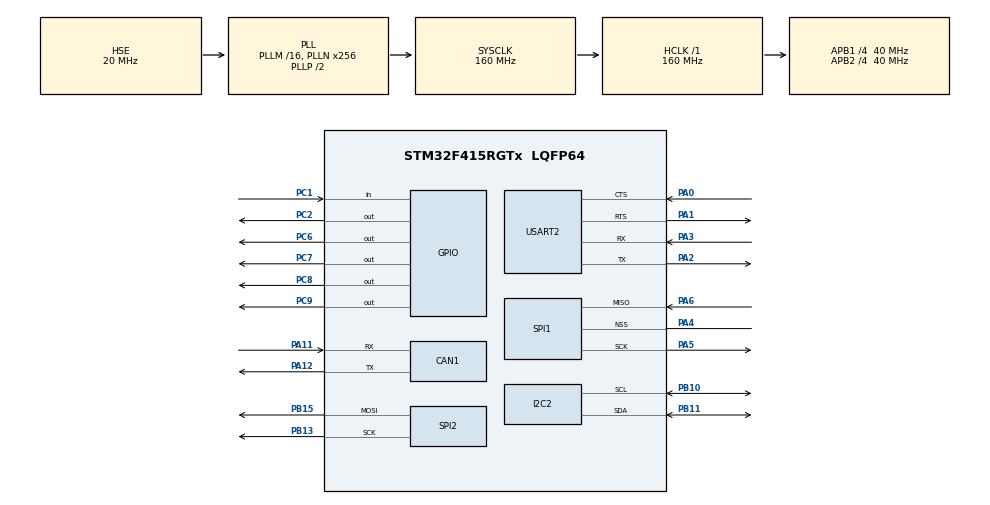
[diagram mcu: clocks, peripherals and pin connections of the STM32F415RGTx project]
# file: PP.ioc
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CAN1.CalculateTimeBit-Master=1200
CAN1.CalculateTimeQuantum-Master=400
Mcu.Family=STM32F4
Mcu.Name=STM32F415RGTx
Mcu.Package=LQFP64
NVIC.PriorityGroup=NVIC_PRIORITYGROUP_4
PA0-WKUP.Mode=CTS_RTS
PA0-WKUP.Signal=USART2_CTS
PA1.Mode=CTS_RTS
PA1.Signal=USART2_RTS
PA11.Mode=Master
PA11.Signal=CAN1_RX
PA12.Mode=Master
PA12.Signal=CAN1_TX
PA2.Mode=Asynchronous
PA2.Signal=USART2_TX
PA3.Mode=Asynchronous
PA3.Signal=USART2_RX
PA4.Mode=NSS_Signal_Hard
PA4.Signal=SPI1_NSS
PA5.Mode=RX_Only_Simplex_Unidirect_Master
PA5.Signal=SPI1_SCK
PA6.Mode=RX_Only_Simplex_Unidirect_Master
PA6.Signal=SPI1_MISO
PB10.Mode=SMBus-two-wire-Interface
PB10.Signal=I2C2_SCL
PB11.Mode=SMBus-two-wire-Interface
PB11.Signal=I2C2_SDA
PB13.Mode=TX_Only_Simplex_Unidirect_Master
PB13.Signal=SPI2_SCK
PB15.Mode=TX_Only_Simplex_Unidirect_Master
PB15.Signal=SPI2_MOSI
PC1.Signal=GPIO_Input
PC2.Signal=GPIO_Output
PC6.Signal=GPIO_Output
PC7.Signal=GPIO_Output
PC8.Signal=GPIO_Output
PC9.Signal=GPIO_Output
PH0-OSC_IN.Mode=HSE-External-Oscillator
PH0-OSC_IN.Signal=RCC_OSC_IN
PH1-OSC_OUT.Mode=HSE-External-Oscillator
PH1-OSC_OUT.Signal=RCC_OSC_OUT
ProjectManager.TargetToolchain=EWARM 6.70
RCC.48MHZClocksFreq_Value=80000000
RCC.AHBFreq_Value=160000000
RCC.APB1CLKDivider=RCC_HCLK_DIV4
RCC.APB1Freq_Value=40000000
RCC.APB1TimFreq_Value=80000000
RCC.APB2CLKDivider=RCC_HCLK_DIV4
RCC.APB2Freq_Value=40000000
RCC.APB2TimFreq_Value=80000000
RCC.ClockTypePCLK1-ClockTree=RCC_CLOCKTYPE_PCLK1
RCC.ClockTypePCLK2-ClockTree=RCC_CLOCKTYPE_PCLK2
RCC.ClockTypeSysClk-ClockTree=RCC_CLOCKTYPE_SYSCLK
RCC.CortexFreq_Value=20000000
RCC.EnableExtClockForI2S-ClockTree=false
RCC.EnableHSE-ClockTree=true
RCC.EnableHSERTCDevisor-ClockTree=false
RCC.EnableLSE-ClockTree=false
RCC.EnableLSERTC-ClockTree=false
RCC.ExtClockEnable-ClockTree=false
RCC.FLatency-AdvancedSettings=FLASH_LATENCY_5
RCC.HCLKFreq_Value=160000000
RCC.HSEState-ClockTree=RCC_HSE_ON
RCC.HSE_VALUE=20000000
RCC.HSIState-ClockTree=RCC_HSI_OFF
RCC.HSI_VALUE=16000000
RCC.I2SEnable-ClockTree=false
RCC.IWDGEnable-ClockTree=false
RCC.LSE_VALUE=32768
RCC.LSIState-ClockTree=RCC_LSI_OFF
RCC.MCO1OutPutEnable-ClockTree=false
RCC.MCO2OutPutEnable-ClockTree=false
RCC.OscillatorTypeHSE-ClockTree=RCC_OSCILLATORTYPE_HSE
RCC.OscillatorTypeHSI-ClockTree=RCC_OSCILLATORTYPE_HSI
RCC.PLLN=256
RCC.PLLSourceVirtual=RCC_PLLSOURCE_HSE
RCC.PLLState-ClockTree=RCC_PLL_ON
RCC.PWR_Regulator_Voltage_Scale-AdvancedSettings=PWR_REGULATOR_VOLTAGE_SCALE1
RCC.RCC_PERIPHCLK_RTCVar-ClockTree=RCC_PERIPHCLK_RTC
RCC.RNGEnable-ClockTree=false
RCC.RTCEnable-ClockTree=false
RCC.SDIOEnable-ClockTree=false
RCC.SYSCLKFreq_VALUE=160000000
RCC.SYSCLKSource=RCC_SYSCLKSOURCE_PLLCLK
RCC.USBFSEnable-ClockTree=false
RCC.USBHSEnable-ClockTree=false
RCC.VCOOutputFreq_Value=320000000
SPI1.BaudRatePrescaler-RX_Only_Simplex_Unidirect_Master=SPI_BAUDRATEPRESCALER_4
SPI1.CLKPolarity-RX_Only_Simplex_Unidirect_Master=SPI_POLARITY_HIGH
SPI1.CalculateBaudRate-RX_Only_Simplex_Unidirect_Master=10.0 MBits/s
SPI1.DataSize-RX_Only_Simplex_Unidirect_Master=SPI_DATASIZE_16BIT
SPI1.Direction-RX_Only_Simplex_Unidirect_Master=SPI_DIRECTION_2LINES_RXONLY
SPI1.Mode-RX_Only_Simplex_Unidirect_Master=SPI_MODE_MASTER
SPI1.TIMode-RX_Only_Simplex_Unidirect_Master=SPI_TIMODE_DISABLED
SPI1.VirtualNSS=VM_NSSHARD
SPI1.VirtualNSS-NSS_Signal_Hard=VM_NSSHARD
SPI1.VirtualType-RX_Only_Simplex_Unidirect_Master=VM_MASTER
SPI2.BaudRatePrescaler-TX_Only_Simplex_Unidirect_Master=SPI_BAUDRATEPRESCALER_2
SPI2.CalculateBaudRate-TX_Only_Simplex_Unidirect_Master=20.0 MBits/s
SPI2.Direction-TX_Only_Simplex_Unidirect_Master=SPI_DIRECTION_2LINES
SPI2.Mode-TX_Only_Simplex_Unidirect_Master=SPI_MODE_MASTER
SPI2.NSS-TX_Only_Simplex_Unidirect_Master=SPI_NSS_SOFT
SPI2.TIMode-TX_Only_Simplex_Unidirect_Master=SPI_TIMODE_DISABLED
SPI2.VirtualType-TX_Only_Simplex_Unidirect_Master=VM_MASTER
USART2.HwFlowCtl-Asynchronous=UART_HWCONTROL_RTS_CTS
USART2.HwFlowCtl-CTS_RTS=UART_HWCONTROL_RTS_CTS
USART2.VirtualMode-Asynchronous=VM_ASYNC

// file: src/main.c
/**
  ******************************************************************************
  * File Name          : main.c
  * Date               : 13/11/2014 00:33:09
  * Description        : Main program body
  ******************************************************************************
  *
  * COPYRIGHT(c) 2014 STMicroelectronics
  *
  * Redistribution and use in source and binary forms, with or without modification,
  * are permitted provided that the following conditions are met:
  *   1. Redistributions of source code must retain the above copyright notice,
  *      this list of conditions and the following disclaimer.
  *   2. Redistributions in binary form must reproduce the above copyright notice,
  *      this list of conditions and the following disclaimer in the documentation
  *      and/or other materials provided with the distribution.
  *   3. Neither the name of STMicroelectronics nor the names of its contributors
  *      may be used to endorse or promote products derived from this software
  *      without specific prior written permission.
  *
  * THIS SOFTWARE IS PROVIDED BY THE COPYRIGHT HOLDERS AND CONTRIBUTORS "AS IS"
  * AND ANY EXPRESS OR IMPLIED WARRANTIES, INCLUDING, BUT NOT LIMITED TO, THE
  * IMPLIED WARRANTIES OF MERCHANTABILITY AND FITNESS FOR A PARTICULAR PURPOSE ARE
  * DISCLAIMED. IN NO EVENT SHALL THE COPYRIGHT HOLDER OR CONTRIBUTORS BE LIABLE
  * FOR ANY DIRECT, INDIRECT, INCIDENTAL, SPECIAL, EXEMPLARY, OR CONSEQUENTIAL
  * DAMAGES (INCLUDING, BUT NOT LIMITED TO, PROCUREMENT OF SUBSTITUTE GOODS OR
  * SERVICES; LOSS OF USE, DATA, OR PROFITS; OR BUSINESS INTERRUPTION) HOWEVER
  * CAUSED AND ON ANY THEORY OF LIABILITY, WHETHER IN CONTRACT, STRICT LIABILITY,
  * OR TORT (INCLUDING NEGLIGENCE OR OTHERWISE) ARISING IN ANY WAY OUT OF THE USE
  * OF THIS SOFTWARE, EVEN IF ADVISED OF THE POSSIBILITY OF SUCH DAMAGE.
  *
  ******************************************************************************
  */

#include "stm32f4xx_hal.h"

/* USER CODE BEGIN Includes */
#include <stdio.h>
/* USER CODE END Includes */

CAN_HandleTypeDef hcan1;

SPI_HandleTypeDef hspi1;
SPI_HandleTypeDef hspi2;

UART_HandleTypeDef huart2;

/* USER CODE BEGIN PV */
uint8_t spiData;
/* USER CODE END PV */

void SystemClock_Config(void);
static void MX_GPIO_Init(void);
static void MX_CAN1_Init(void);
static void MX_I2C2_Init(void);
static void MX_SPI1_Init(void);
static void MX_SPI2_Init(void);
static void MX_USART2_UART_Init(void);

int main(void)
{

  /* MCU Configuration----------------------------------------------------------*/

  /* Reset of all peripherals, Initializes the Flash interface and the Systick. */
  HAL_Init();

  /* Configure the system clock */
  SystemClock_Config();

  /* Initialize all configured peripherals */
  MX_GPIO_Init();
  MX_CAN1_Init();
  MX_I2C2_Init();
  MX_SPI1_Init();
  MX_SPI2_Init();
  MX_USART2_UART_Init();

  /* USER CODE BEGIN 2 */
  HAL_GPIO_WritePin(GPIOC, GPIO_PIN_2, GPIO_PIN_RESET);
  HAL_Delay(1000);
  /* USER CODE END 2 */

  /* USER CODE BEGIN 3 */
  /* Infinite loop */
  while (1)
  {
	  uint16_t i;
	  uint16_t y[8];
	  HAL_GPIO_WritePin(GPIOC, GPIO_PIN_2, GPIO_PIN_SET);
	  while (HAL_GPIO_ReadPin(GPIOC, GPIO_PIN_1) == GPIO_PIN_SET) {
		  ;
	  }
	  //HAL_GPIO_WritePin(GPIOA, GPIO_PIN_4, GPIO_PIN_RESET);
	  for (i = 1; i < 9; i++) {
		  spiData=66;
		  HAL_SPI_Receive(&hspi1, &spiData, sizeof(spiData), 0);
		  y[i-1]=spiData;
		  //printf("V%i=%i. \n", i, spiData);
		  //HAL_UART_Transmit(&huart2,&spiData,sizeof(spiData), 0x100);
	  }
	  for (i=0; i<8; i++) printf("V%i=%i. ", i, y[i]);
	  printf("\n");
	  //printf("Last Error = %#010x\n", HAL_SPI_GetError(&hspi1));
	  HAL_GPIO_WritePin(GPIOC, GPIO_PIN_2, GPIO_PIN_RESET);
	  //HAL_GPIO_WritePin(GPIOA, GPIO_PIN_4, GPIO_PIN_SET);
	  HAL_Delay(200);
  }
  /* USER CODE END 3 */

}

/** System Clock Configuration
*/
void SystemClock_Config(void)
{

  RCC_OscInitTypeDef RCC_OscInitStruct;
  RCC_ClkInitTypeDef RCC_ClkInitStruct;

  __PWR_CLK_ENABLE();

  __HAL_PWR_VOLTAGESCALING_CONFIG(PWR_REGULATOR_VOLTAGE_SCALE1);

  RCC_OscInitStruct.OscillatorType = RCC_OSCILLATORTYPE_HSI|RCC_OSCILLATORTYPE_HSE;
  RCC_OscInitStruct.HSEState = RCC_HSE_ON;
  RCC_OscInitStruct.PLL.PLLState = RCC_PLL_ON;
  RCC_OscInitStruct.PLL.PLLSource = RCC_PLLSOURCE_HSE;
  RCC_OscInitStruct.PLL.PLLM = 16;
  RCC_OscInitStruct.PLL.PLLN = 256;
  RCC_OscInitStruct.PLL.PLLP = RCC_PLLP_DIV2;
  RCC_OscInitStruct.PLL.PLLQ = 4;
  HAL_RCC_OscConfig(&RCC_OscInitStruct);

  RCC_ClkInitStruct.ClockType = RCC_CLOCKTYPE_SYSCLK|RCC_CLOCKTYPE_PCLK1
                              |RCC_CLOCKTYPE_PCLK2;
  RCC_ClkInitStruct.SYSCLKSource = RCC_SYSCLKSOURCE_PLLCLK;
  RCC_ClkInitStruct.AHBCLKDivider = RCC_SYSCLK_DIV1;
  RCC_ClkInitStruct.APB1CLKDivider = RCC_HCLK_DIV4;
  RCC_ClkInitStruct.APB2CLKDivider = RCC_HCLK_DIV4;
  HAL_RCC_ClockConfig(&RCC_ClkInitStruct, FLASH_LATENCY_5);

}

/* CAN1 init function */
void MX_CAN1_Init(void)
{

  hcan1.Instance = CAN1;
  hcan1.Init.Prescaler = 16;
  hcan1.Init.Mode = CAN_MODE_NORMAL;
  hcan1.Init.SJW = CAN_SJW_1TQ;
  hcan1.Init.BS1 = CAN_BS1_1TQ;
  hcan1.Init.BS2 = CAN_BS2_1TQ;
  hcan1.Init.TTCM = DISABLE;
  hcan1.Init.ABOM = DISABLE;
  hcan1.Init.AWUM = DISABLE;
  hcan1.Init.NART = DISABLE;
  hcan1.Init.RFLM = DISABLE;
  hcan1.Init.TXFP = DISABLE;
  HAL_CAN_Init(&hcan1);

}

/* I2C2 init function */
void MX_I2C2_Init(void)
{

}

/* SPI1 init function */
void MX_SPI1_Init(void)
{

  hspi1.Instance = SPI1;
  hspi1.Init.Mode = SPI_MODE_MASTER;
  hspi1.Init.Direction = SPI_DIRECTION_2LINES_RXONLY;
  hspi1.Init.DataSize = SPI_DATASIZE_16BIT;
  hspi1.Init.CLKPolarity = SPI_POLARITY_HIGH;
  hspi1.Init.CLKPhase = SPI_PHASE_1EDGE;
  hspi1.Init.NSS = SPI_NSS_HARD_OUTPUT;
  hspi1.Init.BaudRatePrescaler = SPI_BAUDRATEPRESCALER_4;
  hspi1.Init.FirstBit = SPI_FIRSTBIT_MSB;
  hspi1.Init.TIMode = SPI_TIMODE_DISABLED;
  hspi1.Init.CRCCalculation = SPI_CRCCALCULATION_DISABLED;
  HAL_SPI_Init(&hspi1);

}

/* SPI2 init function */
void MX_SPI2_Init(void)
{

  hspi2.Instance = SPI2;
  hspi2.Init.Mode = SPI_MODE_MASTER;
  hspi2.Init.Direction = SPI_DIRECTION_2LINES;
  hspi2.Init.DataSize = SPI_DATASIZE_8BIT;
  hspi2.Init.CLKPolarity = SPI_POLARITY_LOW;
  hspi2.Init.CLKPhase = SPI_PHASE_1EDGE;
  hspi2.Init.NSS = SPI_NSS_SOFT;
  hspi2.Init.BaudRatePrescaler = SPI_BAUDRATEPRESCALER_2;
  hspi2.Init.FirstBit = SPI_FIRSTBIT_MSB;
  hspi2.Init.TIMode = SPI_TIMODE_DISABLED;
  hspi2.Init.CRCCalculation = SPI_CRCCALCULATION_DISABLED;
  HAL_SPI_Init(&hspi2);

}

/* USART2 init function */
void MX_USART2_UART_Init(void)
{

  huart2.Instance = USART2;
  huart2.Init.BaudRate = 115200;
  huart2.Init.WordLength = UART_WORDLENGTH_8B;
  huart2.Init.StopBits = UART_STOPBITS_1;
  huart2.Init.Parity = UART_PARITY_NONE;
  huart2.Init.Mode = UART_MODE_TX_RX;
  huart2.Init.HwFlowCtl = UART_HWCONTROL_RTS_CTS;
  huart2.Init.OverSampling = UART_OVERSAMPLING_16;
  HAL_UART_Init(&huart2);

}

/** Configure pins as
        * Analog
        * Input
        * Output
        * EVENT_OUT
        * EXTI
     PB10   ------> I2C2_SCL
     PB11   ------> I2C2_SDA
*/
void MX_GPIO_Init(void)
{

  GPIO_InitTypeDef GPIO_InitStruct;

  /* GPIO Ports Clock Enable */
  __GPIOH_CLK_ENABLE();
  __GPIOC_CLK_ENABLE();
  __GPIOA_CLK_ENABLE();
  __GPIOB_CLK_ENABLE();

  /*Configure GPIO pin : PC1 */
  GPIO_InitStruct.Pin = GPIO_PIN_1;
  GPIO_InitStruct.Mode = GPIO_MODE_INPUT;
  GPIO_InitStruct.Pull = GPIO_NOPULL;
  HAL_GPIO_Init(GPIOC, &GPIO_InitStruct);

  /*Configure GPIO pins : PC2 PC6 PC7 PC8
                           PC9 */
  GPIO_InitStruct.Pin = GPIO_PIN_2|GPIO_PIN_6|GPIO_PIN_7|GPIO_PIN_8
                          |GPIO_PIN_9;
  GPIO_InitStruct.Mode = GPIO_MODE_OUTPUT_PP;
  GPIO_InitStruct.Pull = GPIO_NOPULL;
  GPIO_InitStruct.Speed = GPIO_SPEED_LOW;
  HAL_GPIO_Init(GPIOC, &GPIO_InitStruct);

  /*Configure GPIO pins : PB10 PB11 */
  GPIO_InitStruct.Pin = GPIO_PIN_10|GPIO_PIN_11;
  GPIO_InitStruct.Mode = GPIO_MODE_AF_OD;
  GPIO_InitStruct.Pull = GPIO_NOPULL;
  GPIO_InitStruct.Speed = GPIO_SPEED_LOW;
  GPIO_InitStruct.Alternate = GPIO_AF4_I2C2;
  HAL_GPIO_Init(GPIOB, &GPIO_InitStruct);

}

/************************ (C) COPYRIGHT STMicroelectronics *****END OF FILE****/
